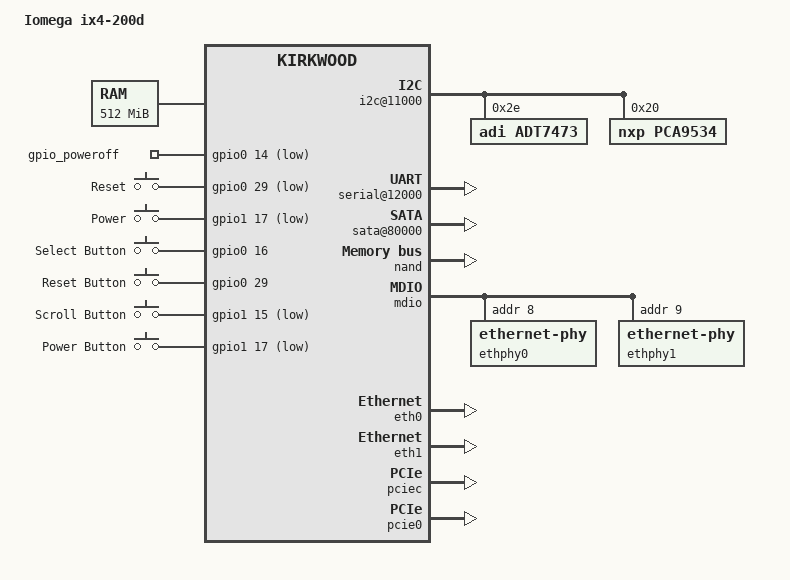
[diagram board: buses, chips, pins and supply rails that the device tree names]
// SPDX-License-Identifier: GPL-2.0+
/*
 * Device Tree file for Iomega ix4-200d
 *
 * Copyright (c) 2020, 1000001101000
 * Copyright (c) 2016, bodhi <mibodhi@gmail.com>
 * Copyright (c) 2015, DaMacc
 *
*/

/dts-v1/;

#include <dt-bindings/gpio/gpio.h>
#include <dt-bindings/input/input.h>
#include "kirkwood.dtsi"
#include "kirkwood-6281.dtsi"

/ {
	model = "Iomega ix4-200d";
	compatible = "marvell,rd88f6281-a", "marvell,rd88f6281", "marvell,kirkwood-88f6281", "marvell,kirkwood";

	memory {
		device_type = "memory";
		reg = <0x00000000 0x20000000>; /* 512MB */
	};

	chosen {
		bootargs = "console=ttyS0,115200n8 earlyprintk";
		stdout-path = &uart0;
	};

	gpio_poweroff {
		compatible = "gpio-poweroff";
		gpios = <&gpio0 14 GPIO_ACTIVE_LOW>;
	};

	gpio_keys {
		compatible = "gpio-keys";

		reset {
			label = "Reset";
			linux,code = <KEY_POWER>;
			gpios = <&gpio0 29 GPIO_ACTIVE_LOW>;
		};

		button {
			label = "Power";
			linux,code = <KEY_SLEEP>;
			gpios = <&gpio1 17 GPIO_ACTIVE_LOW>;	/* GPIO1-17 is MPP49 */
		};
	};

	ocp@f1000000 {
		pinctrl: pin-controller@10000 {
			gpio_pin: gpio-pin {
				marvell,pins = "mpp13", "mpp14", "mpp15", "mpp16",
								 "mpp28", "mpp29", "mpp36", "mpp36",
								 "mpp37", "mpp38", "mpp39", "mpp40",
								 "mpp41", "mpp42", "mpp43", "mpp44",
								 "mpp45", "mpp46", "mpp47", "mpp48",
								 "mpp49";
				marvell,function = "gpio";
			};

			gpo_pin: gpo-pin {
				marvell,pins = "mpp7", "mpp12";
				marvell,function = "gpo";
			};

			sata0_pin: sata0-pin {
				marvell,pins = "mpp17";
				marvell,function = "sata0";
			};

			spi_pin1: spi-pin1 {
				marvell,pins = "mpp12";
				marvell,function = "gpio";
			};

			spi_pin2: spi-pin2 {
				marvell,pins = "mpp13";
				marvell,function = "gpio";
			};

			select_button_pin: select-button-pin {
				marvell,pins = "mpp16";
				marvell,function = "gpio";
			};

			reset_button_pin: reset-button-pin {
				marvell,pins = "mpp29";
				marvell,function = "gpio";
			};

			scroll_button_pin: scroll-button-pin {
				marvell,pins = "mpp47";
				marvell,function = "gpio";
			};

			power_button_pin: power-button-pin {
				marvell,pins = "mpp49";
				marvell,function = "gpio";
			};
		};

		gpio-keys {
			compatible = "gpio-keys";
			pinctrl-0 = <&power_button_pin &select_button_pin &scroll_button_pin &reset_button_pin>;
			pinctrl-names = "default";

			select-button {
				label = "Select Button";
				linux,code = <BTN_SELECT>;
				gpios = <&gpio0 16 GPIO_ACTIVE_HIGH>;
			};

			reset-button {
				label = "Reset Button";
				linux,code = <KEY_RESTART>;
				gpios = <&gpio0 29 GPIO_ACTIVE_HIGH>;
			};

			scroll-button {
				label = "Scroll Button";
				linux,code = <KEY_SCROLLDOWN>;
				gpios = <&gpio1 15 GPIO_ACTIVE_LOW>;
			};

			power-button {
				label = "Power Button";
				linux,code = <KEY_POWER>;
				gpios = <&gpio1 17 GPIO_ACTIVE_LOW>;
			};
		};

		i2c@11000 {
			status = "okay";

			adt7473@2e {
				compatible = "adi,adt7473";
				reg = <0x2e>;
			};

			pca9534: gpio@20 {
				compatible = "nxp,pca9534";
				reg = <0x20>;
				gpio-controller; /* IRQ not connected */
				#gpio-cells = <2>;
				// gpio-line-names = "autopower", "", "", "",
				// 		  "", "", "", "";

				// autopower {
				// 	gpio-hog;
				// 	gpios = <0 GPIO_ACTIVE_HIGH>; // Send 254 to disable
				// 	output-high;
				// 	line-name = "autopower";
				// };
			};
		};

		serial@12000 {
			status = "okay";
		};

		sata@80000 {
			status = "okay";
			// nr-ports = <4>;
			nr-ports = <2>;
		};

	};
};

&nand {
	status = "okay";

	partition@0 {
		label = "u-boot";
		reg = <0x0000000 0x100000>;
		read-only;
	};

	partition@a0000 {
		label = "env";
		reg = <0xE0000 0x20000>;
		read-only;
	};

	partition@100000 {
		label = "rootfs";
		reg = <0x100000 0x1F00000>;
	};
};

&mdio {
	status = "okay";

	ethphy0: ethernet-phy@8 {
		device_type = "ethernet-phy";
		reg = <8>;
	};

	ethphy1: ethernet-phy@9 {
		device_type = "ethernet-phy";
		reg = <9>;
	};
};

&eth0 {
	status = "okay";
	ethernet0-port@0 {
		phy-handle = <&ethphy0>;
	};
};

&eth1 {
	status = "okay";
	ethernet1-port@0 {
		phy-handle = <&ethphy1>;
	};
};

&pciec {
	status = "okay";
};

&pcie0 {
	status = "okay";
};
